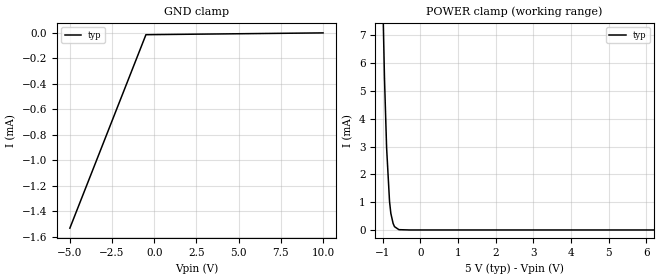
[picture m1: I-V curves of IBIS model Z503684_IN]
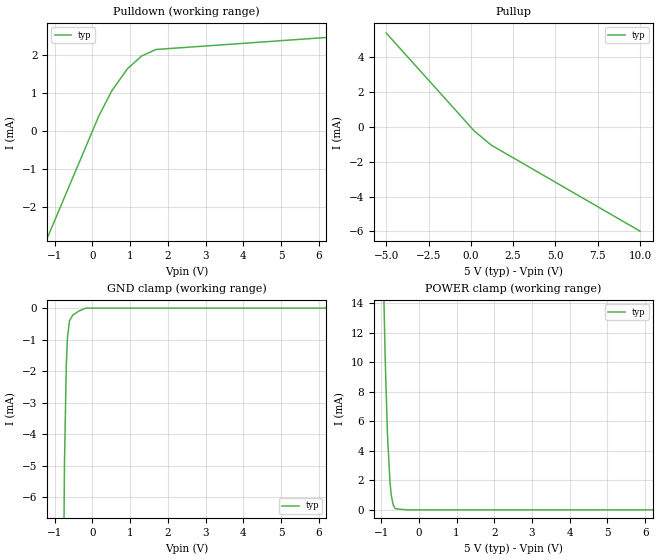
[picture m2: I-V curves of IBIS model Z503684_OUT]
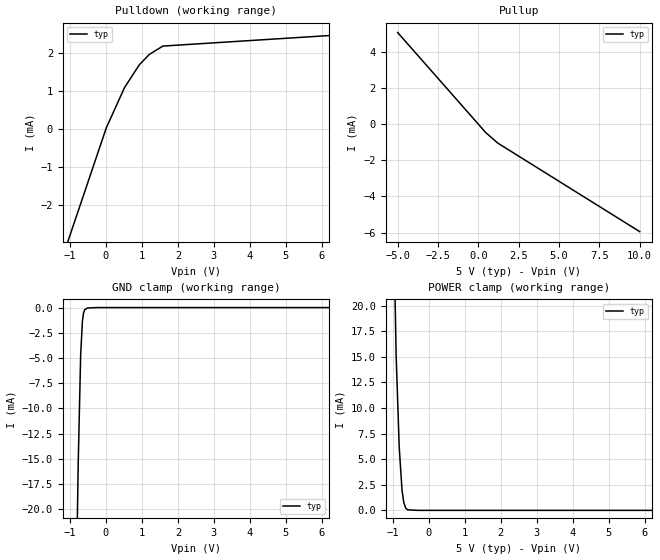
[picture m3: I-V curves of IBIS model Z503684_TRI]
| YOU ARE ONLY AUTHORIZED TO USE THIS SOFTWARE
| ACCORDING TO LICENSOR'S LICENSE RESTRICTIONS.
[IBIS Ver] 3.1
[File Name] mc14583bcl.ibs
[File Rev] 2.0
[Source] Measured and created by ICX Technology
[Date] Friday 7/14/00 9:07:57 AM
[Copyright]
| (C) COPYRIGHT 1993-2000
| MENTOR GRAPHICS CORPORATION
| ICX STANDARD LIBRARY, ICX PROJECT MODELING,
| ICX CUSTOM MODELING, ICX VENDOR MODEL
| ALL RIGHTS RESERVED.
| THE FOLLOWING ARE TRADEMARKS OR SERVICE MARKS OF
| MENTOR GRAPHICS CORPORATION:ICX (R), ICX STANDARD
| LIBRARY(R), ICX PROJECT MODELING(R), ICX CUSTOM
| MODELING(R), qualityIBIS(TM), MODELVIEWER(TM),
| AND MODELEDITOR(TM)
| ALL COPIES OF SOFTWARE, INCLUDING BUT NOT LIMITED TO
| ANY MODIFICATIONS, ENHANCEMENTS OR DERIVATIVE WORKS,
| MUST CONTAIN ALL MENTOR GRAPHICS CORPORATION'S
| NOTICES AND LEGENDS, INCLUDING THOSE EMBEDDED IN
| SOFTWARE AND THOSE AFFIXED TO SOFTWARE MEDIUM
| AND CONTAINER, AS RECEIVED FROM MENTOR GRAPHICS
| CORPORATION.
|  ZAP Model Builder 2.7
[Component] MC14583BCL
[Manufacturer] OnSemiconductor
[Package]
| variable   typ   min   max
R_pkg  .212ohms NA NA
L_pkg  4.758nH NA NA
C_pkg  1.944pF NA NA
[Pin] signal_name  model_name  R_pin  L_pin C_pin
1 BCOM Z503684_IN .224 7.258n 2.683p
2 BPOS Z503684_IN .216 5.258n 2.19p
3 BNEG Z503684_IN .208 3.758n 1.697p
4 AOUT Z503684_OUT .2 2.758n 1.204p
5 ANEG Z503684_IN .2 2.758n 1.204p
6 APOS Z503684_IN .208 3.758n 1.697p
7 ACOM Z503684_IN .216 5.258n 2.19p
8 VSS POWER .224 7.258n 2.683p
9 AIN Z503684_IN .224 7.258n 2.683p
10 BOUT Z503684_OUT .216 5.258n 2.19p
11 _AOUT Z503684_TRI .208 3.758n 1.697p
12 _BOUT Z503684_TRI .2 2.758n 1.204p
13 _DIS Z503684_IN .2 2.758n 1.204p
14 XOR Z503684_OUT .208 3.758n 1.697p
15 BIN Z503684_IN .216 5.258n 2.19p
16 VDD POWER .224 7.258n 2.683p
| Models and submodels in the file (3): Z503684_IN (Input), Z503684_OUT (Output), Z503684_TRI (3-state)
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| (C) COPYRIGHT 1993-2000
| MENTOR GRAPHICS CORPORATION
| ICX STANDARD LIBRARY, ICX PROJECT MODELING,
| ICX CUSTOM MODELING, ICX VENDOR MODEL
| ALL RIGHTS RESERVED.
| THE FOLLOWING ARE TRADEMARKS OR SERVICE MARKS OF
| MENTOR GRAPHICS CORPORATION:ICX (R), ICX STANDARD
| LIBRARY(R), ICX PROJECT MODELING(R), ICX CUSTOM
| MODELING(R), qualityIBIS(TM), MODELVIEWER(TM),
| AND MODELEDITOR(TM)
| ALL COPIES OF SOFTWARE, INCLUDING BUT NOT LIMITED TO
| ANY MODIFICATIONS, ENHANCEMENTS OR DERIVATIVE WORKS,
| MUST CONTAIN ALL MENTOR GRAPHICS CORPORATION'S
| NOTICES AND LEGENDS, INCLUDING THOSE EMBEDDED IN
| SOFTWARE AND THOSE AFFIXED TO SOFTWARE MEDIUM
| AND CONTAINER, AS RECEIVED FROM MENTOR GRAPHICS
| CORPORATION.
| Model Application Version 1.89 2/18/99.
[Model] Z503684_IN
Model_type Input
Vinl = 1.500V
Vinh = 3.500V
C_comp 4.000pF NA NA
| variable typ   min   max
[Voltage Range] 5.000V NA NA
[GND Clamp Reference] 0.000V NA NA
[POWER Clamp Reference] 5.000V NA NA
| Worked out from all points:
|   POWER clamp passes 1 mA (typ) near -0.82 V on its own axis
[GND Clamp]
-5V       -1.532mA   NA         NA
-493.1mV  -13.29uA   NA         NA
10V       798.8nA    NA         NA
[POWER Clamp]
-5V       337.4mA    NA         NA
-1.015V   9.348mA    NA         NA
-955mV    5.506mA    NA         NA
-898mV    2.965mA    NA         NA
-820mV    1.026mA    NA         NA
-785mV    595.8uA    NA         NA
-725mV    235.5uA    NA         NA
-688mV    119.5uA    NA         NA
-571mV    11.07uA    NA         NA
-285.5mV  0A         NA         NA
10V       0A         NA         NA
| (C) COPYRIGHT 1993-2000
| MENTOR GRAPHICS CORPORATION
| ICX STANDARD LIBRARY, ICX PROJECT MODELING,
| ICX CUSTOM MODELING, ICX VENDOR MODEL
| ALL RIGHTS RESERVED.
| THE FOLLOWING ARE TRADEMARKS OR SERVICE MARKS OF
| MENTOR GRAPHICS CORPORATION:ICX (R), ICX STANDARD
| LIBRARY(R), ICX PROJECT MODELING(R), ICX CUSTOM
| MODELING(R), qualityIBIS(TM), MODELVIEWER(TM),
| AND MODELEDITOR(TM)
| ALL COPIES OF SOFTWARE, INCLUDING BUT NOT LIMITED TO
| ANY MODIFICATIONS, ENHANCEMENTS OR DERIVATIVE WORKS,
| MUST CONTAIN ALL MENTOR GRAPHICS CORPORATION'S
| NOTICES AND LEGENDS, INCLUDING THOSE EMBEDDED IN
| SOFTWARE AND THOSE AFFIXED TO SOFTWARE MEDIUM
| AND CONTAINER, AS RECEIVED FROM MENTOR GRAPHICS
| CORPORATION.
| Model Application Version 1.89 2/18/99.
[Model] Z503684_OUT
Model_type Output
Vref=0.000V
Rref=500.0Mohms
Cref=50.00pF
Vmeas=2.500V
C_comp 8.000pF NA NA
| variable typ   min   max
[Voltage Range] 5.000V NA NA
[POWER Clamp Reference] 5.000V NA NA
[Pullup Reference] 5.000V NA NA
[Pulldown Reference] 0.000V NA NA
[GND Clamp Reference] 0.000V NA NA
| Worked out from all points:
|   slope of the pulldown table from 0 to 0.75 V, typ, clamps not added: 541 ohm
|   slope of the pullup table from 0 to 0.75 V, typ, clamps not added: 1.13 kohm
|   GND clamp passes 1 mA (typ) near -0.66 V on its own axis
|   POWER clamp passes 1 mA (typ) near -0.73 V on its own axis
[GND Clamp]
-5V       -623.1mA   NA         NA
-741.8mV  -4.925mA   NA         NA
-694mV    -1.824mA   NA         NA
-661.4mV  -910.2uA   NA         NA
-608.7mV  -401.8uA   NA         NA
-517mV    -215uA     NA         NA
-361.3mV  -98.01uA   NA         NA
-180.6mV  0A         NA         NA
10V       0A         NA         NA
[Pulldown]
-5V       -11.73mA   NA         NA
166mV     388.2uA    NA         NA
516.1mV   1.059mA    NA         NA
927.7mV   1.632mA    NA         NA
1.304V    1.968mA    NA         NA
1.683V    2.138mA    NA         NA
10V       2.719mA    NA         NA
[Pullup]
-5V       5.4mA      NA         NA
205mV     -234.4uA   NA         NA
1.212V    -1.048mA   NA         NA
10V       -5.992mA   NA         NA
[POWER Clamp]
-5V       512mA      NA         NA
-894mV    10.52mA    NA         NA
-830mV    5.049mA    NA         NA
-763mV    1.826mA    NA         NA
-730mV    993.3uA    NA         NA
-679mV    325.5uA    NA         NA
-624mV    78.52uA    NA         NA
-312mV    0A         NA         NA
10V       0A         NA         NA
[Ramp]
| variable typ min max
dV/dt_r 1.981/29.06n NA NA
dV/dt_f 1.981/30.34n NA NA
R_load = 2.500kOhms
| (C) COPYRIGHT 1993-2000
| MENTOR GRAPHICS CORPORATION
| ICX STANDARD LIBRARY, ICX PROJECT MODELING,
| ICX CUSTOM MODELING, ICX VENDOR MODEL
| ALL RIGHTS RESERVED.
| THE FOLLOWING ARE TRADEMARKS OR SERVICE MARKS OF
| MENTOR GRAPHICS CORPORATION:ICX (R), ICX STANDARD
| LIBRARY(R), ICX PROJECT MODELING(R), ICX CUSTOM
| MODELING(R), qualityIBIS(TM), MODELVIEWER(TM),
| AND MODELEDITOR(TM)
| ALL COPIES OF SOFTWARE, INCLUDING BUT NOT LIMITED TO
| ANY MODIFICATIONS, ENHANCEMENTS OR DERIVATIVE WORKS,
| MUST CONTAIN ALL MENTOR GRAPHICS CORPORATION'S
| NOTICES AND LEGENDS, INCLUDING THOSE EMBEDDED IN
| SOFTWARE AND THOSE AFFIXED TO SOFTWARE MEDIUM
| AND CONTAINER, AS RECEIVED FROM MENTOR GRAPHICS
| CORPORATION.
| Model Application Version 1.89 2/18/99.
[Model] Z503684_TRI
Model_type 3-state
Vref=0.000V
Rref=500.0Mohms
Cref=50.00pF
Vmeas=2.500V
C_comp 8.000pF NA NA
| variable typ   min   max
[Voltage Range] 5.000V NA NA
[POWER Clamp Reference] 5.000V NA NA
[Pullup Reference] 5.000V NA NA
[Pulldown Reference] 0.000V NA NA
[GND Clamp Reference] 0.000V NA NA
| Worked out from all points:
|   slope of the pulldown table from 0 to 0.75 V, typ, clamps not added: 526 ohm
|   slope of the pullup table from 0 to 0.75 V, typ, clamps not added: 1.08 kohm
|   GND clamp passes 1 mA (typ) near -0.64 V on its own axis
|   POWER clamp passes 1 mA (typ) near -0.70 V on its own axis
[GND Clamp]
-5V       -975.2mA   NA         NA
-771mV    -15.48mA   NA         NA
-702.9mV  -4.687mA   NA         NA
-654.3mV  -1.367mA   NA         NA
-624.7mV  -557.2uA   NA         NA
-590.4mV  -219uA     NA         NA
-515.7mV  -41.69uA   NA         NA
-257.8mV  0A         NA         NA
10V       0A         NA         NA
[Pulldown]
-5V       -13.96mA   NA         NA
9.766mV   35.36uA    NA         NA
516.1mV   1.093mA    NA         NA
927.5mV   1.691mA    NA         NA
1.207V    1.964mA    NA         NA
1.583V    2.182mA    NA         NA
10V       2.685mA    NA         NA
[Pullup]
-5V       5.075mA    NA         NA
460mV     -467.4uA   NA         NA
1.212V    -1.052mA   NA         NA
10V       -5.951mA   NA         NA
[POWER Clamp]
-5V       820.2mA    NA         NA
-907mV    15.25mA    NA         NA
-820mV    6.14mA     NA         NA
-742mV    1.936mA    NA         NA
-693mV    765uA      NA         NA
-641mV    223.8uA    NA         NA
-586mV    51.2uA     NA         NA
-293mV    0A         NA         NA
10V       0A         NA         NA
[Ramp]
| variable typ min max
dV/dt_r 1.984/54.20n NA NA
dV/dt_f 1.984/46.63n NA NA
R_load = 2.500kOhms
